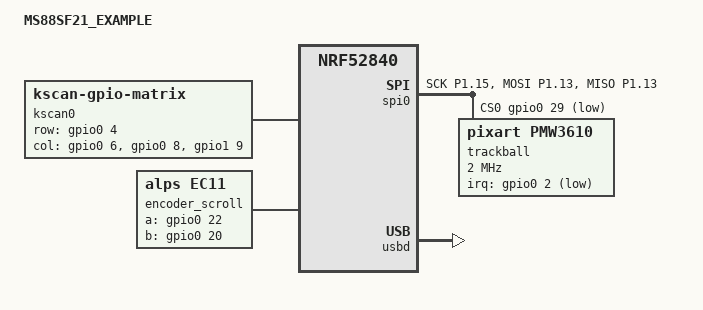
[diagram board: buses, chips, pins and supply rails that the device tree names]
/dts-v1/;
#include <nordic/nrf52840_qiaa.dtsi>

#include <dt-bindings/gpio/gpio.h>
#include <dt-bindings/pinctrl/nrf-pinctrl.h>
#include <dt-bindings/zmk/matrix_transform.h>
#include <zephyr/dt-bindings/input/input-event-codes.h>

#include <physical_layouts.dtsi>

/ {
    model = "MS88SF21_EXAMPLE";
    compatible = "minew,ms88sf21-example";

    chosen {
        zephyr,code-partition = &code_partition;
        zephyr,sram = &sram0;
        zephyr,flash = &flash0;
        zmk,kscan = &kscan0;
        zmk,matrix-transform = &default_transform;
        zmk,physical-layout = &physical_layout0;
    };

    default_transform: keymap_transform_0 {
        compatible = "zmk,matrix-transform";
        columns = <3>;
        rows = <1>;
        map = <
            RC(0,0) RC(0,1) RC(0,2)
        >;
    };

    kscan0: kscan {
        compatible = "zmk,kscan-gpio-matrix";
        wakeup-source;

        diode-direction = "col2row";
        row-gpios = <&gpio0 4 (GPIO_ACTIVE_HIGH | GPIO_PULL_DOWN)>;
        col-gpios =
            <&gpio0 6 GPIO_ACTIVE_HIGH>,
            <&gpio0 8 GPIO_ACTIVE_HIGH>,
            <&gpio1 9 GPIO_ACTIVE_HIGH>;
    };

    encoder_scroll: encoder_scroll {
        compatible = "alps,ec11";
        a-gpios = <&gpio0 22 (GPIO_ACTIVE_HIGH | GPIO_PULL_UP)>;
        b-gpios = <&gpio0 20 (GPIO_ACTIVE_HIGH | GPIO_PULL_UP)>;
        steps = <24>;
        status = "okay";
    };

    sensors: sensors {
        compatible = "zmk,keymap-sensors";
        sensors = <&encoder_scroll>;
        triggers-per-rotation = <24>;
    };

    physical_layout0: physical_layout_0 {
        compatible = "zmk,physical-layout";
        display-name = "Default Layout";
        transform = <&default_transform>;
        kscan = <&kscan0>;

        keys = <
            &key_physical_attrs 100 100   0 0 0 0 0
            &key_physical_attrs 100 100 100 0 0 0 0
            &key_physical_attrs 100 100 200 0 0 0 0
        >;
    };
};

&pinctrl {
    spi0_default: spi0_default {
        group1 {
            psels =
                <NRF_PSEL(SPIM_SCK, 1, 15)>,
                <NRF_PSEL(SPIM_MOSI, 1, 13)>,
                <NRF_PSEL(SPIM_MISO, 1, 13)>;
        };
    };

    spi0_sleep: spi0_sleep {
        group1 {
            psels =
                <NRF_PSEL(SPIM_SCK, 1, 15)>,
                <NRF_PSEL(SPIM_MOSI, 1, 13)>,
                <NRF_PSEL(SPIM_MISO, 1, 13)>;
            low-power-enable;
        };
    };
};

&spi0 {
    status = "okay";
    compatible = "nordic,nrf-spim";
    pinctrl-0 = <&spi0_default>;
    pinctrl-1 = <&spi0_sleep>;
    pinctrl-names = "default", "sleep";
    cs-gpios = <&gpio0 29 GPIO_ACTIVE_LOW>;

    trackball: trackball@0 {
        status = "okay";
        compatible = "pixart,pmw3610";
        reg = <0>;
        spi-max-frequency = <2000000>;
        irq-gpios = <&gpio0 2 (GPIO_ACTIVE_LOW | GPIO_PULL_UP)>;
        cpi = <600>;
        evt-type = <INPUT_EV_REL>;
        x-input-code = <INPUT_REL_X>;
        y-input-code = <INPUT_REL_Y>;
    };
};

/ {
    trackball_listener {
        compatible = "zmk,input-listener";
        device = <&trackball>;
    };
};

&gpiote {
    status = "okay";
};

&gpio0 {
    status = "okay";
};

&gpio1 {
    status = "okay";
};

zephyr_udc0: &usbd {
    status = "okay";
};

&flash0 {
    partitions {
        compatible = "fixed-partitions";
        #address-cells = <1>;
        #size-cells = <1>;

        sd_partition: partition@0 {
            reg = <0x00000000 0x00001000>;
        };

        code_partition: partition@1000 {
            reg = <0x00001000 0x000d3000>;
        };

        storage_partition: partition@d4000 {
            reg = <0x000d4000 0x00020000>;
        };

        boot_partition: partition@f4000 {
            reg = <0x000f4000 0x0000c000>;
        };
    };
};
